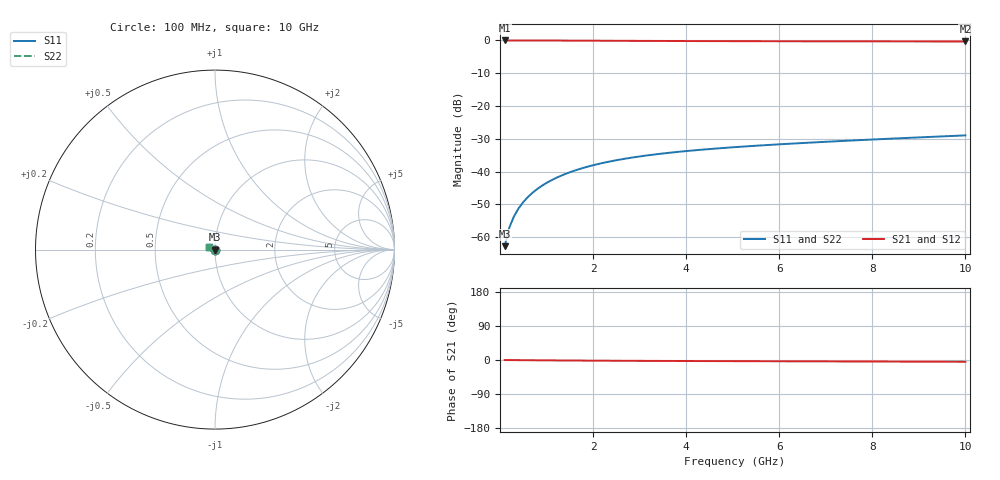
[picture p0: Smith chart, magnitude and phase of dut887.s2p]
! Touchstone file exported from HFSS 2024.1.0
!  File:  C:/UserFiles/LocalFiles/RDL_TSV_Batchsim/temp_TSV1_887_1779884513.aedt
!  Generated:  08:28:06 PM May 27, 2026
!  Design:  TSV1
!  Project:  temp_TSV1_887_1779884513
!  Setup:  Setup1
!  Solution:  Sweep
! Variables:
!  dtsv = 7.25um
!  hbump = 3um
!  htsv = 67.87um
!  lrdl = 252.1521522um
!  p = 40
!  p1 = 53.04um
!  t = 500um
!  trdl = 3um
!  wrdl = 24.89489489um
# GHz S MA R 50.000000
! Terminal data exported
! Port[1] = TSV22_T1
! Port[2] = TSV22_T2
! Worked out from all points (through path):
!   100 points, 100 MHz to 10 GHz, reference 50 ohm
!   highest |S21| = 0.00 dB at 100 MHz (marker M1); lowest = -0.3 dB at 10 GHz (marker M2)
!   lowest |S11| = -62.7 dB at 100 MHz (marker M3), VSWR 1.00, Z = 50 - j0.0696 ohm
!   |S11| at or under -10 dB: start of sweep to end of sweep
!   |S22| runs from -62.7 to -29.0 dB; largest |S21 - S12| = 6e-15
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0.1  0.0007303 -72.4  0.9997 -0.1  0.9997 -0.1  0.0007303 -72.4
! Gamma 0 0 0 0
! Port Impedance 50 0 50 0
0.2  0.001395 -84.3  0.9996 -0.2  0.9996 -0.2  0.001395 -84.3
0.3  0.002072 -89.9  0.9995 -0.3  0.9995 -0.3  0.002072 -89.9
0.4  0.002751 -93.8  0.9993 -0.4  0.9993 -0.4  0.002751 -93.8
0.5  0.003427 -97.0  0.999 -0.5  0.999 -0.5  0.003427 -97.0
0.6  0.004099 -99.9  0.9987 -0.6  0.9987 -0.6  0.004099 -99.9
0.7  0.004765 -102.5  0.9984 -0.7  0.9984 -0.7  0.004765 -102.5
0.8  0.005425 -105.0  0.998 -0.8  0.998 -0.8  0.005425 -105.0
0.9  0.006077 -107.4  0.9976 -0.9  0.9976 -0.9  0.006077 -107.4
1.1  0.007353 -111.9  0.9966 -1.0  0.9966 -1.0  0.007353 -111.9
1.4  0.009184 -118.3  0.995 -1.3  0.995 -1.3  0.009184 -118.3
1.6  0.01034 -122.4  0.9938 -1.4  0.9938 -1.4  0.01034 -122.4
1.8  0.01145 -126.3  0.9925 -1.6  0.9925 -1.6  0.01145 -126.3
2.1  0.01301 -131.9  0.9906 -1.8  0.9906 -1.8  0.01301 -131.9
2.5  0.01492 -138.8  0.988 -2.0  0.988 -2.0  0.01492 -138.8
2.9  0.01663 -145.3  0.9855 -2.2  0.9855 -2.2  0.01663 -145.3
3.4  0.01854 -152.7  0.9826 -2.4  0.9826 -2.4  0.01854 -152.7
4.2  0.02119 -163.2  0.9786 -2.7  0.9786 -2.7  0.02119 -163.2
5.1  0.02376 -173.3  0.975 -3.1  0.975 -3.1  0.02376 -173.3
6.7  0.02778 172.2  0.9705 -3.6  0.9705 -3.6  0.02778 172.2
8.4  0.03182 160.1  0.9673 -4.1  0.9673 -4.1  0.03182 160.1
10  0.03567 151.1  0.9651 -4.6  0.9651 -4.6  0.03567 151.1
